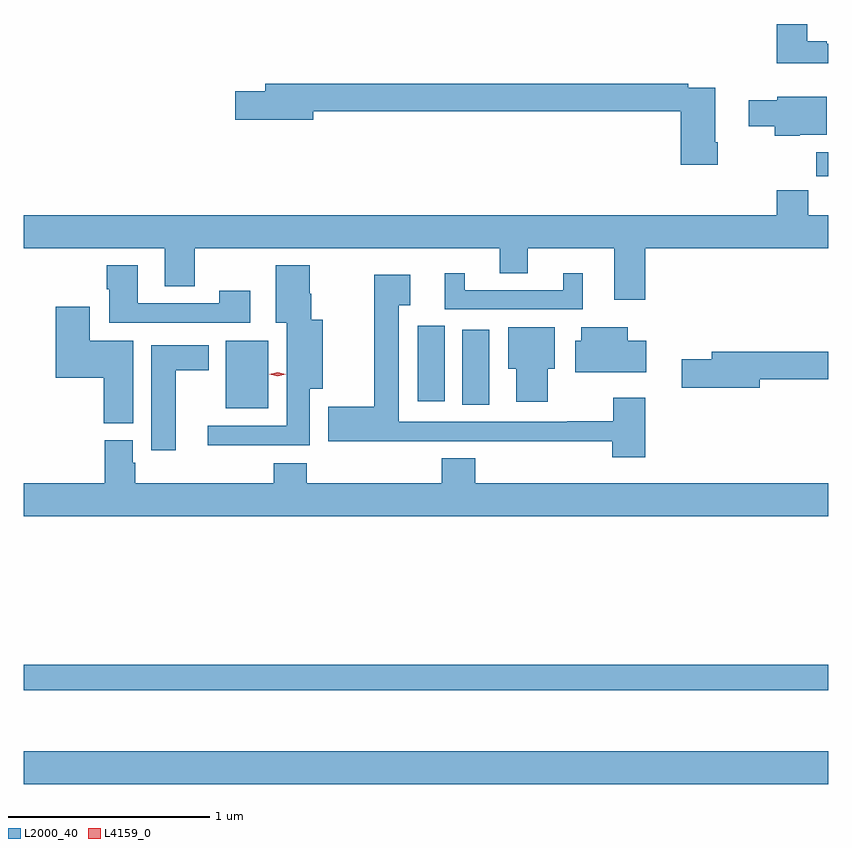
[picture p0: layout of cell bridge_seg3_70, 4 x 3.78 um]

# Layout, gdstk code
import gdstk
lib = gdstk.Library(unit=1e-6, precision=1e-09)
def R(c, l, rs):  # rectangles x0, y0, x1, y1
    for r in rs: c.add(gdstk.rectangle(r[:2], r[2:], *l))
def P(c, l, *ps):  # polygons
    for p in ps: c.add(gdstk.Polygon(p, *l))
L2000_40 = (2000, 40)
L4159_0 = (4159, 0)

bridge_seg3_70 = lib.new_cell('bridge_seg3_70')
R(bridge_seg3_70, L2000_40, [(597.851,694.256,601.851,694.42), (597.851,694.722,601.851,694.85), (598.856,696.125,599.068,696.46), (600.032,696.142,600.166,696.514), (599.81,696.159,599.944,696.534), (601.792,697.278,601.851,697.396)])
P(bridge_seg3_70, L2000_40, [(601.851,697.935),(601.843,697.935),(601.843,697.948),(601.747,697.948),(601.747,698.034),(601.595,698.034),(601.595,697.838),(601.851,697.838)],
  [(601.301,697.447),(601.288,697.447),(601.288,697.716),(601.154,697.716),(601.154,697.736),(599.051,697.736),(599.051,697.7),(598.902,697.7),(598.902,697.558),(599.29,697.558),(599.29,697.6),(601.118,697.6),(601.118,697.335),(601.301,697.335)],
  [(601.71,697.484),(601.843,697.484),(601.843,697.672),(601.596,697.672),(601.596,697.654),(601.455,697.654),(601.455,697.525),(601.585,697.525),(601.585,697.478),(601.71,697.478)],
  [(600.941,696.92),(601.851,696.92),(601.851,697.084),(601.751,697.084),(601.751,697.208),(601.595,697.208),(601.595,697.084),(597.851,697.084),(597.851,696.92),(598.553,696.92),(598.553,696.73),(598.701,696.73),(598.701,696.92),(600.218,696.92),(600.218,696.796),(600.358,696.796),(600.358,696.92),(600.788,696.92),(600.788,696.663),(600.941,696.663)],
  [(598.978,696.709),(598.822,696.709),(598.822,696.645),(598.417,696.645),(598.417,696.835),(598.265,696.835),(598.265,696.715),(598.277,696.715),(598.277,696.549),(598.978,696.549)],
  [(599.272,696.221),(599.338,696.221),(599.338,696.565),(599.28,696.565),(599.28,696.692),(599.272,696.692),(599.272,696.835),(599.105,696.835),(599.105,696.548),(599.159,696.548),(599.159,696.036),(598.767,696.036),(598.767,695.939),(599.272,695.939)],
  [(600.631,696.796),(600.533,696.796),(600.533,696.711),(600.043,696.711),(600.043,696.796),(599.945,696.796),(599.945,696.615),(600.631,696.615)],
  [(600.941,696.175),(600.781,696.175),(600.781,696.06),(600.553,696.06),(600.553,696.057),(599.716,696.057),(599.716,696.635),(599.773,696.635),(599.773,696.787),(599.594,696.787),(599.594,696.131),(599.364,696.131),(599.364,695.96),(599.812,695.96),(599.812,695.961),(600.178,695.961),(600.178,695.96),(600.776,695.96),(600.776,695.88),(600.941,695.88)],
  [(598.396,696.46),(598.18,696.46),(598.18,696.628),(598.01,696.628),(598.01,696.275),(598.25,696.275),(598.25,696.049),(598.396,696.049)],
  [(600.946,696.46),(600.853,696.46),(600.853,696.526),(600.623,696.526),(600.623,696.46),(600.593,696.46),(600.593,696.302),(600.946,696.302)],
  [(600.457,696.32),(600.49,696.32),(600.49,696.526),(600.26,696.526),(600.26,696.32),(600.299,696.32),(600.299,696.156),(600.457,696.156)],
  [(598.606,696.314),(598.771,696.314),(598.771,696.436),(598.484,696.436),(598.484,695.916),(598.606,695.916)],
  [(601.51,696.268),(601.851,696.268),(601.851,696.404),(601.271,696.404),(601.271,696.368),(601.122,696.368),(601.122,696.226),(601.51,696.226)],
  [(601.851,695.752),(600.095,695.752),(600.095,695.876),(599.93,695.876),(599.93,695.752),(599.258,695.752),(599.258,695.851),(599.093,695.851),(599.093,695.752),(598.406,695.752),(598.406,695.853),(598.393,695.853),(598.393,695.964),(598.253,695.964),(598.253,695.752),(597.851,695.752),(597.851,695.588),(601.851,695.588)])
P(bridge_seg3_70, L4159_0, [(599.114,696.283),(599.073,696.292),(599.073,696.292),(599.073,696.293),(599.114,696.303),(599.155,696.293),(599.155,696.293),(599.155,696.292)])

lib.write_gds('bridge_seg3_70.gds')
